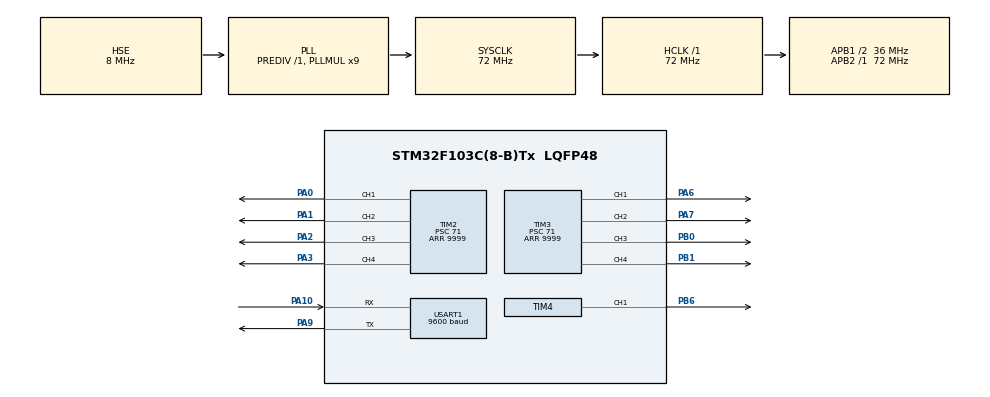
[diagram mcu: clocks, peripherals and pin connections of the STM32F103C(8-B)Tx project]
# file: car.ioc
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Mcu.Family=STM32F1
Mcu.Name=STM32F103C(8-B)Tx
Mcu.Package=LQFP48
NVIC.PriorityGroup=NVIC_PRIORITYGROUP_4
NVIC.TIM1_UP_IRQn=true\:15\:0\:false\:false\:true\:false\:true\:true
NVIC.TimeBase=TIM1_UP_IRQn
NVIC.TimeBaseIP=TIM1
PA0-WKUP.Signal=S_TIM2_CH1_ETR
PA1.Signal=S_TIM2_CH2
PA10.Mode=Asynchronous
PA10.Signal=USART1_RX
PA13.Mode=Serial_Wire
PA13.Signal=SYS_JTMS-SWDIO
PA14.Mode=Serial_Wire
PA14.Signal=SYS_JTCK-SWCLK
PA2.Signal=S_TIM2_CH3
PA3.Signal=S_TIM2_CH4
PA6.Signal=S_TIM3_CH1
PA7.Signal=S_TIM3_CH2
PA9.Mode=Asynchronous
PA9.Signal=USART1_TX
PB0.Signal=S_TIM3_CH3
PB1.Signal=S_TIM3_CH4
PB6.Signal=S_TIM4_CH1
PD0-OSC_IN.Mode=HSE-External-Oscillator
PD0-OSC_IN.Signal=RCC_OSC_IN
PD1-OSC_OUT.Mode=HSE-External-Oscillator
PD1-OSC_OUT.Signal=RCC_OSC_OUT
ProjectManager.HeapSize=0x200
ProjectManager.StackSize=0x400
ProjectManager.TargetToolchain=MDK-ARM V5
RCC.AHBFreq_Value=72000000
RCC.APB1CLKDivider=RCC_HCLK_DIV2
RCC.APB1Freq_Value=36000000
RCC.APB1TimFreq_Value=72000000
RCC.APB2Freq_Value=72000000
RCC.APB2TimFreq_Value=72000000
RCC.HCLKFreq_Value=72000000
RCC.PLLMUL=RCC_PLL_MUL9
RCC.PLLSourceVirtual=RCC_PLLSOURCE_HSE
RCC.SYSCLKFreq_VALUE=72000000
RCC.SYSCLKSource=RCC_SYSCLKSOURCE_PLLCLK
RCC.USBFreq_Value=72000000
SH.S_TIM2_CH1_ETR.0=TIM2_CH1,PWM Generation1 CH1
SH.S_TIM2_CH2.0=TIM2_CH2,PWM Generation2 CH2
SH.S_TIM2_CH3.0=TIM2_CH3,PWM Generation3 CH3
SH.S_TIM2_CH4.0=TIM2_CH4,PWM Generation4 CH4
SH.S_TIM3_CH1.0=TIM3_CH1,PWM Generation1 CH1
SH.S_TIM3_CH2.0=TIM3_CH2,PWM Generation2 CH2
SH.S_TIM3_CH3.0=TIM3_CH3,PWM Generation3 CH3
SH.S_TIM3_CH4.0=TIM3_CH4,PWM Generation4 CH4
SH.S_TIM4_CH1.0=TIM4_CH1,PWM Generation1 CH1
TIM2.Channel-PWM\ Generation1\ CH1=TIM_CHANNEL_1
TIM2.Channel-PWM\ Generation2\ CH2=TIM_CHANNEL_2
TIM2.Channel-PWM\ Generation3\ CH3=TIM_CHANNEL_3
TIM2.Channel-PWM\ Generation4\ CH4=TIM_CHANNEL_4
TIM2.Period=9999
TIM2.Prescaler=71
TIM3.Channel-PWM\ Generation1\ CH1=TIM_CHANNEL_1
TIM3.Channel-PWM\ Generation2\ CH2=TIM_CHANNEL_2
TIM3.Channel-PWM\ Generation3\ CH3=TIM_CHANNEL_3
TIM3.Channel-PWM\ Generation4\ CH4=TIM_CHANNEL_4
TIM3.OCMode_PWM-PWM\ Generation2\ CH2=TIM_OCMODE_PWM1
TIM3.Period=9999
TIM3.Prescaler=71
TIM4.Channel-PWM\ Generation1\ CH1=TIM_CHANNEL_1
TIM4.OCMode_PWM-PWM\ Generation1\ CH1=TIM_OCMODE_PWM1
TIM4.Period=20000
TIM4.Prescaler=72-1
TIM4.Pulse-PWM\ Generation1\ CH1=0
USART1.BaudRate=9600
USART1.VirtualMode=VM_ASYNC
VP_SYS_VS_tim1.Mode=TIM1
VP_TIM3_VS_ClockSourceINT.Mode=Internal
VP_TIM4_VS_ClockSourceINT.Mode=Internal
board=custom

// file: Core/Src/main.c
/* USER CODE BEGIN Header */
/**
  ******************************************************************************
  * @file           : main.c
  * @brief          : Main program body
  ******************************************************************************
  * @attention
  *
  * Copyright (c) 2023 STMicroelectronics.
  * All rights reserved.
  *
  * This software is licensed under terms that can be found in the LICENSE file
  * in the root directory of this software component.
  * If no LICENSE file comes with this software, it is provided AS-IS.
  *
  ******************************************************************************
  */
/* USER CODE END Header */
#include "main.h"
#include "tim.h"
#include "usart.h"
#include "gpio.h"

/* USER CODE BEGIN Includes */
#include "stdio.h"
#include "MOTOR.h"
/* USER CODE END Includes */

/* USER CODE BEGIN PM */
uint8_t RecData;
uint8_t Recbuf[10];
/* USER CODE END PM */

void SystemClock_Config(void);

int main(void)
{

  /* MCU Configuration--------------------------------------------------------*/

  /* Reset of all peripherals, Initializes the Flash interface and the Systick. */
  HAL_Init();

  /* Configure the system clock */
  SystemClock_Config();

  /* Initialize all configured peripherals */
  MX_GPIO_Init();
  MX_TIM2_Init();
  MX_TIM3_Init();
  MX_USART1_UART_Init();
  MX_TIM4_Init();
  /* USER CODE BEGIN 2 */
	HAL_TIM_PWM_Start(&htim4,TIM_CHANNEL_1);
  printf("Are you ready?\r\n");
  HAL_TIM_Base_Start(&htim2);
	HAL_TIM_Base_Start(&htim3);
	HAL_TIM_Base_Start(&htim4);
	HAL_TIM_PWM_Start(&htim2,TIM_CHANNEL_1);
	HAL_TIM_PWM_Start(&htim2,TIM_CHANNEL_2);
	HAL_TIM_PWM_Start(&htim2,TIM_CHANNEL_3);
	HAL_TIM_PWM_Start(&htim2,TIM_CHANNEL_4);
	HAL_TIM_PWM_Start(&htim3,TIM_CHANNEL_1);
	HAL_TIM_PWM_Start(&htim3,TIM_CHANNEL_2);
	HAL_TIM_PWM_Start(&htim3,TIM_CHANNEL_3);
	HAL_TIM_PWM_Start(&htim3,TIM_CHANNEL_4);
	HAL_TIM_PWM_Start(&htim4,TIM_CHANNEL_1);
  /* USER CODE END 2 */

  /* Infinite loop */
  while (1)
  {

    /* USER CODE BEGIN 3 */
			 if(HAL_UART_Receive(&huart1,Recbuf,5,100)==HAL_OK)
		{
        HAL_UART_Transmit(&huart1,Recbuf,5,100);
		}
	if(scanf("%c",&RecData)==1)
			{
				if(RecData=='U')
			{
				UP();
       printf("UP");
			}
			  if(RecData=='D')
				{
					DOWN();
				printf("DOWN");
				}
				 if(RecData=='O')
				 {
					 OK();
				printf("STOP");
				 }
				 if(RecData=='R')
				 {
					 RIGHT();
				printf("RIGHT");
				 }if(RecData=='L')
				 {
					 LEFT();
				printf("LEFT");
				 }
	  }
	}
  /* USER CODE END 3 */
}

void SystemClock_Config(void)
{
  RCC_OscInitTypeDef RCC_OscInitStruct = {0};
  RCC_ClkInitTypeDef RCC_ClkInitStruct = {0};

  /** Initializes the RCC Oscillators according to the specified parameters
  * in the RCC_OscInitTypeDef structure.
  */
  RCC_OscInitStruct.OscillatorType = RCC_OSCILLATORTYPE_HSE;
  RCC_OscInitStruct.HSEState = RCC_HSE_ON;
  RCC_OscInitStruct.HSEPredivValue = RCC_HSE_PREDIV_DIV1;
  RCC_OscInitStruct.HSIState = RCC_HSI_ON;
  RCC_OscInitStruct.PLL.PLLState = RCC_PLL_ON;
  RCC_OscInitStruct.PLL.PLLSource = RCC_PLLSOURCE_HSE;
  RCC_OscInitStruct.PLL.PLLMUL = RCC_PLL_MUL9;
  if (HAL_RCC_OscConfig(&RCC_OscInitStruct) != HAL_OK)
  {
    Error_Handler();
  }

  /** Initializes the CPU, AHB and APB buses clocks
  */
  RCC_ClkInitStruct.ClockType = RCC_CLOCKTYPE_HCLK|RCC_CLOCKTYPE_SYSCLK
                              |RCC_CLOCKTYPE_PCLK1|RCC_CLOCKTYPE_PCLK2;
  RCC_ClkInitStruct.SYSCLKSource = RCC_SYSCLKSOURCE_PLLCLK;
  RCC_ClkInitStruct.AHBCLKDivider = RCC_SYSCLK_DIV1;
  RCC_ClkInitStruct.APB1CLKDivider = RCC_HCLK_DIV2;
  RCC_ClkInitStruct.APB2CLKDivider = RCC_HCLK_DIV1;

  if (HAL_RCC_ClockConfig(&RCC_ClkInitStruct, FLASH_LATENCY_2) != HAL_OK)
  {
    Error_Handler();
  }
}

/* USER CODE BEGIN 4 */
int fputc(int ch,FILE *f)
{
	HAL_UART_Transmit(&huart1,(uint8_t*)&ch,1,HAL_MAX_DELAY);
	return ch;

}
int fgetc(FILE *f)
{
	uint8_t ch;
	HAL_UART_Receive(&huart1,(uint8_t*)&ch,1,HAL_MAX_DELAY);
		return ch;

}
/* USER CODE END 4 */

void HAL_TIM_PeriodElapsedCallback(TIM_HandleTypeDef *htim)
{
  if (htim->Instance == TIM1) {
    HAL_IncTick();
  }
}

void Error_Handler(void)
{
  __disable_irq();
  while (1)
  {
  }
}
